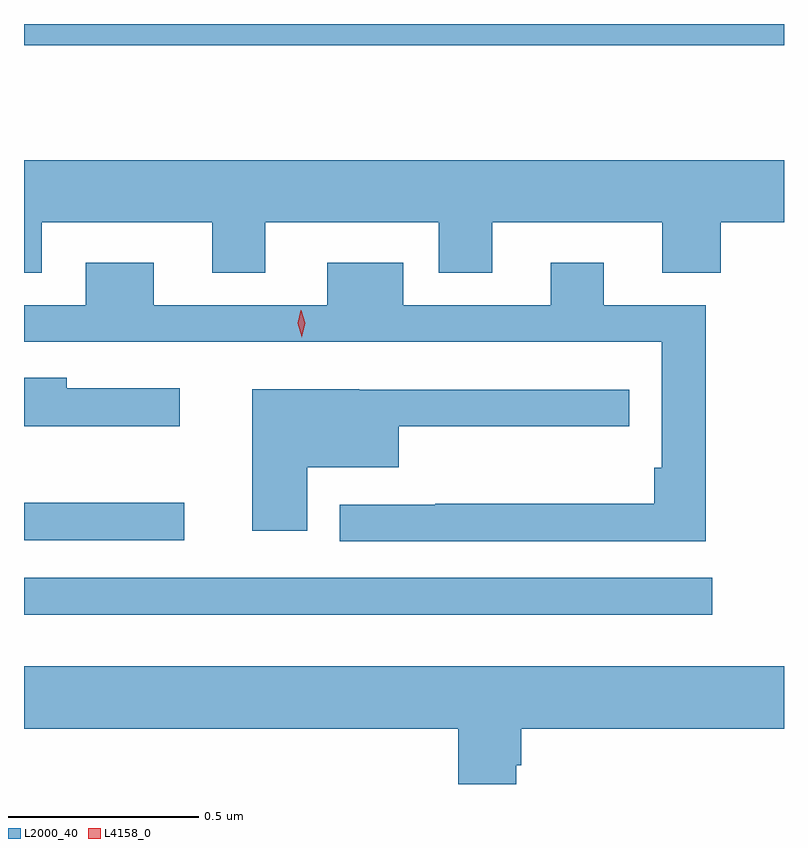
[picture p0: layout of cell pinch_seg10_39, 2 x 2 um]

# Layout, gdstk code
import gdstk
lib = gdstk.Library(unit=1e-6, precision=1e-09)
def R(c, l, rs):  # rectangles x0, y0, x1, y1
    for r in rs: c.add(gdstk.rectangle(r[:2], r[2:], *l))
def P(c, l, *ps):  # polygons
    for p in ps: c.add(gdstk.Polygon(p, *l))
L2000_40 = (2000, 40)
L4158_0 = (4158, 0)

pinch_seg10_39 = lib.new_cell('pinch_seg10_39')
R(pinch_seg10_39, L2000_40, [(900.668,1260.656,902.479,1260.753), (900.668,1260.852,901.09,1260.95), (900.668,1262.154,902.668,1262.21)])
P(pinch_seg10_39, L2000_40, [(900.715,1261.688),(901.163,1261.688),(901.163,1261.555),(901.303,1261.555),(901.303,1261.688),(901.76,1261.688),(901.76,1261.555),(901.9,1261.555),(901.9,1261.688),(902.348,1261.688),(902.348,1261.555),(902.501,1261.555),(902.501,1261.688),(902.668,1261.688),(902.668,1261.852),(900.668,1261.852),(900.668,1261.555),(900.715,1261.555)],
  [(902.462,1261.47),(902.194,1261.47),(902.194,1261.582),(902.054,1261.582),(902.054,1261.47),(901.666,1261.47),(901.666,1261.582),(901.466,1261.582),(901.466,1261.47),(901.009,1261.47),(901.009,1261.582),(900.83,1261.582),(900.83,1261.47),(900.668,1261.47),(900.668,1261.374),(902.346,1261.374),(902.346,1261.042),(902.326,1261.042),(902.326,1260.947),(901.75,1260.947),(901.75,1260.945),(901.499,1260.945),(901.499,1260.849),(902.462,1260.849)],
  [(901.078,1261.252),(900.78,1261.252),(900.78,1261.279),(900.668,1261.279),(900.668,1261.151),(901.078,1261.151)],
  [(901.414,1261.043),(901.654,1261.043),(901.654,1261.151),(902.261,1261.151),(902.261,1261.247),(902.15,1261.247),(902.15,1261.248),(901.55,1261.248),(901.55,1261.249),(901.268,1261.249),(901.268,1260.876),(901.414,1260.876)],
  [(901.963,1260.26),(901.976,1260.26),(901.976,1260.356),(902.668,1260.356),(902.668,1260.52),(900.668,1260.52),(900.668,1260.356),(901.811,1260.356),(901.811,1260.21),(901.963,1260.21)])
P(pinch_seg10_39, L4158_0, [(901.399,1261.386),(901.399,1261.387),(901.388,1261.422),(901.396,1261.457),(901.396,1261.457),(901.397,1261.457),(901.408,1261.422),(901.399,1261.387)])

lib.write_gds('pinch_seg10_39.gds')
